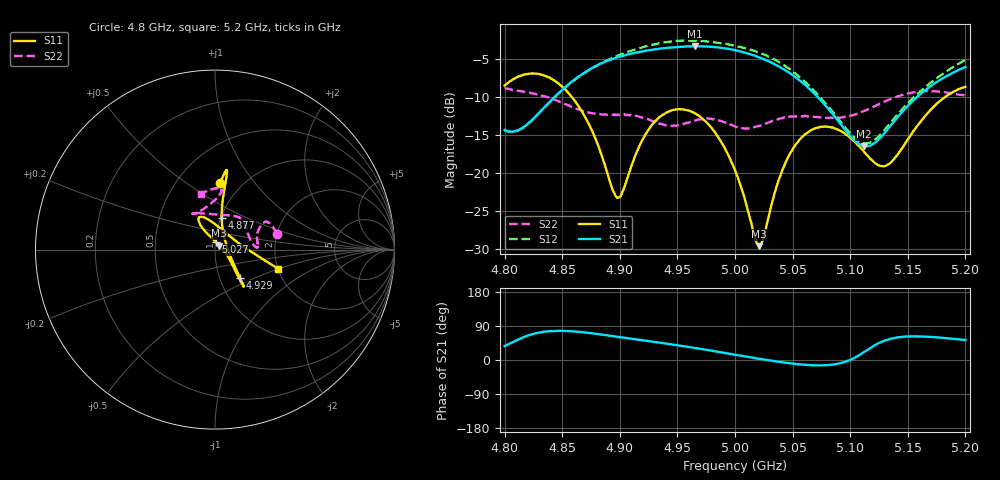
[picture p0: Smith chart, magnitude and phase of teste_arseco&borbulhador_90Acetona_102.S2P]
! Network Analyzer HP8722D
! Hewlett-Packard
! Data name: Linha & Wilkinson
! Saver's name: Rodrigo Anjos
! Comments: Teste da utilização de aquisição
! continua pelo VNA HP8722D
! Time and date: 17/4/2025 11:54
!  Frequency  S11  S21  S12  S22
# HZ  S  MA R 50
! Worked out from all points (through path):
!   401 points, 4.8 GHz to 5.2 GHz, reference 50 ohm
!   highest |S21| = -3.36 dB at 4.965 GHz (marker M1); lowest = -16.6 dB at 5.112 GHz (marker M2)
!   lowest |S11| = -29.7 dB at 5.021 GHz (marker M3), VSWR 1.07, Z = 52.4 + j2.35 ohm
!   |S11| at or under -10 dB: 4.858 GHz to 5.183 GHz (324.9 MHz wide, 6.47 % of centre)
!   |S22| runs from -14.2 to -8.9 dB; largest |S21 - S12| = 0.23
!   S11 on the Smith chart (normalised r, x): 4.8 GHz: 0.79, +0.69; 4.877 GHz: 1.01, +0.37; 4.929 GHz: 1.25, -0.41; 5.027 GHz: 1.00, +0.09; 5.2 GHz: 2.00, -0.49
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4.8e9  0.3737 85.8  0.1905 36.9  0.1897 -2.9  0.3579 14.4
4.814e9  0.433 82.7  0.1935 57.2  0.1929 18.3  0.3429 23.4
4.834e9  0.4355 81.2  0.266 74.5  0.2654 37.7  0.318 29.1
4.867e9  0.2523 80.9  0.4427 73.5  0.4381 43.4  0.2561 21.8
4.877e9  0.1807 78.0  0.4919 69.9  0.4901 42.5  0.2451 17.1
4.894e9  0.07591 43.6  0.5583 63.0  0.5698 40.3  0.2405 8.9
4.899e9  0.06872 14.6  0.5765 60.7  0.5905 39.4  0.2411 7.1
4.917e9  0.1494 -41.3  0.6214 53.3  0.6576 35.6  0.2327 2.8
4.929e9  0.2103 -48.6  0.644 48.1  0.6953 32.2  0.2176 6.0
4.934e9  0.23 -50.2  0.6506 45.9  0.709 30.7  0.2102 9.4
4.965e9  0.2462 -51.9  0.6792 31.6  0.7367 18.8  0.2202 41.0
4.983e9  0.1823 -48.0  0.6684 22.9  0.7167 11.9  0.2228 54.1
5e9  0.1039 -35.8  0.6373 13.7  0.6821 5.7  0.2011 72.0
5.021e9  0.03286 43.0  0.5719 3.3  0.616 -2.3  0.2027 101.1
5.027e9  0.04338 85.7  0.548 0.3  0.5924 -4.4  0.2106 107.8
5.044e9  0.1168 118.3  0.469 -7.2  0.4994 -10.3  0.2312 118.6
5.067e9  0.1918 118.9  0.342 -13.9  0.3554 -13.5  0.2332 121.3
5.089e9  0.1925 110.0  0.2212 -10.0  0.2295 -5.6  0.2299 112.4
5.112e9  0.1372 87.5  0.1486 20.9  0.1563 28.3  0.2539 96.5
5.134e9  0.1144 34.6  0.199 55.1  0.2076 65.5  0.3019 85.5
5.171e9  0.2645 -10.7  0.3761 60.6  0.3961 78.5  0.3422 87.5
5.2e9  0.3669 -17.0  0.4951 52.5  0.5512 76.3  0.3215 104.5
